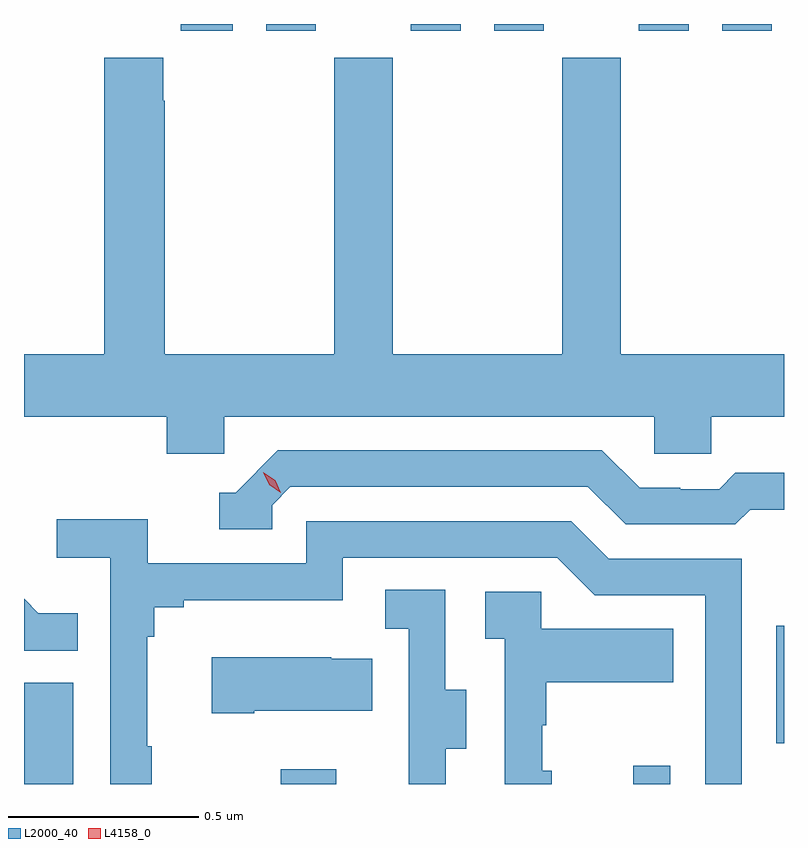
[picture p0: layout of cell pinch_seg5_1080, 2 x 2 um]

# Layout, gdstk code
import gdstk
lib = gdstk.Library(unit=1e-6, precision=1e-09)
def R(c, l, rs):  # rectangles x0, y0, x1, y1
    for r in rs: c.add(gdstk.rectangle(r[:2], r[2:], *l))
def P(c, l, *ps):  # polygons
    for p in ps: c.add(gdstk.Polygon(p, *l))
L2000_40 = (2000, 40)
L4158_0 = (4158, 0)

pinch_seg5_1080 = lib.new_cell('pinch_seg5_1080')
R(pinch_seg5_1080, L2000_40, [(855.571,854.461,855.7,854.727), (856.246,854.461,856.393,854.5), (857.174,854.461,857.271,854.509), (857.55,854.568,857.571,854.878), (855.983,856.443,856.12,856.461), (856.208,856.443,856.339,856.461), (856.589,856.443,856.72,856.461), (856.808,856.443,856.939,856.461), (857.189,856.443,857.32,856.461), (857.408,856.443,857.539,856.461)])
P(pinch_seg5_1080, L2000_40, [(856.098,855.428),(857.229,855.428),(857.229,855.33),(857.379,855.33),(857.379,855.428),(857.571,855.428),(857.571,855.592),(857.142,855.592),(857.142,856.372),(856.987,856.372),(856.987,855.592),(856.542,855.592),(856.542,856.372),(856.387,856.372),(856.387,855.592),(855.942,855.592),(855.942,856.259),(855.937,856.259),(855.937,856.372),(855.782,856.372),(855.782,855.592),(855.571,855.592),(855.571,855.428),(855.947,855.428),(855.947,855.33),(856.098,855.33)],
  [(856.224,855.195),(856.272,855.243),(857.055,855.243),(857.154,855.144),(857.443,855.144),(857.482,855.183),(857.571,855.183),(857.571,855.28),(857.443,855.28),(857.401,855.237),(857.298,855.237),(857.298,855.24),(857.191,855.24),(857.092,855.339),(856.239,855.339),(856.128,855.228),(856.085,855.228),(856.085,855.132),(856.224,855.132)],
  [(855.907,854.561),(855.895,854.561),(855.895,854.849),(855.914,854.849),(855.914,854.926),(855.991,854.926),(855.991,854.945),(856.41,854.945),(856.41,855.057),(856.974,855.057),(857.073,854.958),(857.364,854.958),(857.364,854.461),(857.46,854.461),(857.46,855.054),(857.11,855.054),(857.011,855.153),(856.314,855.153),(856.314,855.042),(855.896,855.042),(855.896,855.158),(855.657,855.158),(855.657,855.056),(855.798,855.056),(855.798,854.461),(855.907,854.461)],
  [(856.681,854.554),(856.735,854.554),(856.735,854.709),(856.68,854.709),(856.68,854.972),(856.521,854.972),(856.521,854.869),(856.584,854.869),(856.584,854.565),(856.583,854.565),(856.583,854.461),(856.681,854.461)],
  [(856.96,854.496),(856.935,854.496),(856.935,854.615),(856.945,854.615),(856.945,854.729),(857.279,854.729),(857.279,854.869),(856.932,854.869),(856.932,854.967),(856.785,854.967),(856.785,854.843),(856.836,854.843),(856.836,854.461),(856.96,854.461)],
  [(855.713,854.911),(855.609,854.911),(855.571,854.949),(855.571,854.812),(855.713,854.812)],
  [(856.177,854.654),(856.487,854.654),(856.487,854.791),(856.379,854.791),(856.379,854.794),(856.065,854.794),(856.065,854.647),(856.177,854.647)])
P(pinch_seg5_1080, L4158_0, [(856.247,855.228),(856.216,855.248),(856.201,855.282),(856.201,855.282),(856.201,855.282),(856.232,855.261),(856.247,855.228),(856.247,855.228)])

lib.write_gds('pinch_seg5_1080.gds')
